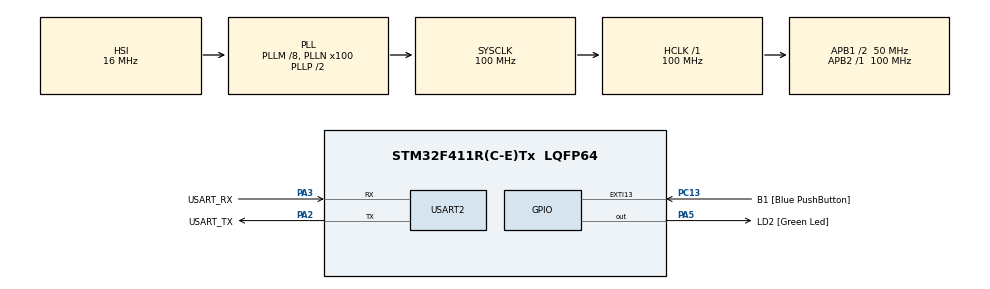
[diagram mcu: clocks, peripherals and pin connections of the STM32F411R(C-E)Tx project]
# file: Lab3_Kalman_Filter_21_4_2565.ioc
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Mcu.Family=STM32F4
Mcu.Name=STM32F411R(C-E)Tx
Mcu.Package=LQFP64
NVIC.PriorityGroup=NVIC_PRIORITYGROUP_0
NVIC.TIM1_TRG_COM_TIM11_IRQn=true\:0\:0\:false\:false\:true\:true\:true
PA13.GPIO_Label=TMS
PA13.Mode=Serial_Wire
PA13.Signal=SYS_JTMS-SWDIO
PA14.GPIO_Label=TCK
PA14.Mode=Serial_Wire
PA14.Signal=SYS_JTCK-SWCLK
PA2.GPIO_Label=USART_TX
PA2.Mode=Asynchronous
PA2.Signal=USART2_TX
PA3.GPIO_Label=USART_RX
PA3.Mode=Asynchronous
PA3.Signal=USART2_RX
PA5.GPIO_Label=LD2 [Green Led]
PA5.Signal=GPIO_Output
PB3.GPIO_Label=SWO
PB3.Signal=SYS_JTDO-SWO
PC13-ANTI_TAMP.GPIO_Label=B1 [Blue PushButton]
PC13-ANTI_TAMP.GPIO_ModeDefaultEXTI=GPIO_MODE_IT_FALLING
PC13-ANTI_TAMP.Signal=GPXTI13
PC14-OSC32_IN.Mode=LSE-External-Oscillator
PC14-OSC32_IN.Signal=RCC_OSC32_IN
PC15-OSC32_OUT.Mode=LSE-External-Oscillator
PC15-OSC32_OUT.Signal=RCC_OSC32_OUT
PH0\ -\ OSC_IN.Mode=HSE-External-Clock-Source
PH0\ -\ OSC_IN.Signal=RCC_OSC_IN
PH1\ -\ OSC_OUT.Mode=HSE-External-Clock-Source
PH1\ -\ OSC_OUT.Signal=RCC_OSC_OUT
ProjectManager.HeapSize=0x200
ProjectManager.StackSize=0x400
ProjectManager.TargetToolchain=STM32CubeIDE
RCC.48MHZClocksFreq_Value=50000000
RCC.AHBFreq_Value=100000000
RCC.APB1CLKDivider=RCC_HCLK_DIV2
RCC.APB1Freq_Value=50000000
RCC.APB1TimFreq_Value=100000000
RCC.APB2Freq_Value=100000000
RCC.APB2TimFreq_Value=100000000
RCC.CortexFreq_Value=100000000
RCC.FLatency-AdvancedSettings=FLASH_LATENCY_3
RCC.HCLKFreq_Value=100000000
RCC.HSE_VALUE=8000000
RCC.HSI_VALUE=16000000
RCC.PLLM=8
RCC.PLLN=100
RCC.SYSCLKFreq_VALUE=100000000
RCC.SYSCLKSource=RCC_SYSCLKSOURCE_PLLCLK
RCC.VCOOutputFreq_Value=200000000
TIM11.Prescaler=99
USART2.VirtualMode=VM_ASYNC
VP_TIM11_VS_ClockSourceINT.Mode=Enable_Timer
board=NUCLEO-F411RE

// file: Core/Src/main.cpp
/* USER CODE BEGIN Header */
/**
  ******************************************************************************
  * @file           : main.c
  * @brief          : Main program body
  ******************************************************************************
  * @attention
  *
  * Copyright (c) 2022 STMicroelectronics.
  * All rights reserved.
  *
  * This software is licensed under terms that can be found in the LICENSE file
  * in the root directory of this software component.
  * If no LICENSE file comes with this software, it is provided AS-IS.
  *
  ******************************************************************************
  */
/* USER CODE END Header */
#include "main.h"
#include "iostream"
#include "Eigen/Dense"

using namespace Eigen;
using namespace std;

UART_HandleTypeDef huart2;

TIM_HandleTypeDef htim11;
/* USER CODE BEGIN PV */

//Timer micro
uint64_t _micro = 0;

int column = 0;
int row = 0;
float element[9] = {0,0,0,0,0,0,0,0,0};
uint8_t numcount = 0;
MatrixXf Ans;

//Kalman Filter
unsigned long currentTime = 0;
unsigned long prevTime = 0;
float delT = 0.0f;

bool isFirstStep = true;

//All Matrix
MatrixXf Q(4, 4);
MatrixXf R_Baro(1, 1);
MatrixXf R_GPS(1, 1);
MatrixXf X(4, 1);
MatrixXf P(4, 4);
MatrixXf I(4, 4);
MatrixXf H_Baro(1, 4);
MatrixXf H_GPS(1, 4);
MatrixXf F(4,4);
MatrixXf Z_Baro(1,1);
MatrixXf K_Baro(4, 1);
MatrixXf Z_GPS(1,1);
MatrixXf K_GPS(4, 1);
MatrixXf B(2,1);
MatrixXf U(1,1);

/* USER CODE END PV */

void SystemClock_Config(void);
static void MX_GPIO_Init(void);
static void MX_USART2_UART_Init(void);
static void MX_TIM11_Init(void);
/* USER CODE BEGIN PFP */

// Micros count
uint64_t micros();

void ShowoutputMatrix(uint8_t rows, uint8_t columns);
void predict(float accel);
void updateBaro(float altitude);
void updateGPS(float gpsAltitude);

// Return value
float getKalmanPosition();
float getKalmanVelocity();
float getKalmanGravity();
float getKalmanBias();

/* USER CODE END PFP */

int main(void)
{
  /* USER CODE BEGIN 1 */

// Enter the matrix value.
	Q << 1,0,0,0
		,0,1,0,0
		,0,0,1,0
		,0,0,0,1;

	R_Baro << 10;

	R_GPS << 100;

	X << 5
		,0
		,-9.81
		,0;

	P << 10,0,0,0
		,0,1,0,0
		,0,0,1,0
		,0,0,0,100;

	I << 1,0,0,0
		,0,1,0,0
		,0,0,1,0
		,0,0,0,1;

	H_Baro << 1,0,0,1;

	H_GPS << 1,0,0,0;

  /* USER CODE END 1 */

  /* MCU Configuration--------------------------------------------------------*/

  /* Reset of all peripherals, Initializes the Flash interface and the Systick. */
  HAL_Init();

  /* Configure the system clock */
  SystemClock_Config();

  /* Initialize all configured peripherals */
  MX_GPIO_Init();
  MX_USART2_UART_Init();
  MX_TIM11_Init();
  /* USER CODE BEGIN 2 */

  //Timer For implement micros()
  	HAL_TIM_Base_Start_IT(&htim11);
  /* USER CODE END 2 */

  /* Infinite loop */
  while (1)
  {

  }
}

void SystemClock_Config(void)
{
  RCC_OscInitTypeDef RCC_OscInitStruct = {0};
  RCC_ClkInitTypeDef RCC_ClkInitStruct = {0};

  /** Configure the main internal regulator output voltage
  */
  __HAL_RCC_PWR_CLK_ENABLE();
  __HAL_PWR_VOLTAGESCALING_CONFIG(PWR_REGULATOR_VOLTAGE_SCALE1);
  /** Initializes the RCC Oscillators according to the specified parameters
  * in the RCC_OscInitTypeDef structure.
  */
  RCC_OscInitStruct.OscillatorType = RCC_OSCILLATORTYPE_HSI;
  RCC_OscInitStruct.HSIState = RCC_HSI_ON;
  RCC_OscInitStruct.HSICalibrationValue = RCC_HSICALIBRATION_DEFAULT;
  RCC_OscInitStruct.PLL.PLLState = RCC_PLL_ON;
  RCC_OscInitStruct.PLL.PLLSource = RCC_PLLSOURCE_HSI;
  RCC_OscInitStruct.PLL.PLLM = 8;
  RCC_OscInitStruct.PLL.PLLN = 100;
  RCC_OscInitStruct.PLL.PLLP = RCC_PLLP_DIV2;
  RCC_OscInitStruct.PLL.PLLQ = 4;
  if (HAL_RCC_OscConfig(&RCC_OscInitStruct) != HAL_OK)
  {
    Error_Handler();
  }
  /** Initializes the CPU, AHB and APB buses clocks
  */
  RCC_ClkInitStruct.ClockType = RCC_CLOCKTYPE_HCLK|RCC_CLOCKTYPE_SYSCLK
                              |RCC_CLOCKTYPE_PCLK1|RCC_CLOCKTYPE_PCLK2;
  RCC_ClkInitStruct.SYSCLKSource = RCC_SYSCLKSOURCE_PLLCLK;
  RCC_ClkInitStruct.AHBCLKDivider = RCC_SYSCLK_DIV1;
  RCC_ClkInitStruct.APB1CLKDivider = RCC_HCLK_DIV2;
  RCC_ClkInitStruct.APB2CLKDivider = RCC_HCLK_DIV1;

  if (HAL_RCC_ClockConfig(&RCC_ClkInitStruct, FLASH_LATENCY_3) != HAL_OK)
  {
    Error_Handler();
  }
}

static void MX_TIM11_Init(void)
{

  htim11.Instance = TIM11;
  htim11.Init.Prescaler = 99;
  htim11.Init.CounterMode = TIM_COUNTERMODE_UP;
  htim11.Init.Period = 65535;
  htim11.Init.ClockDivision = TIM_CLOCKDIVISION_DIV1;
  htim11.Init.AutoReloadPreload = TIM_AUTORELOAD_PRELOAD_DISABLE;
  if (HAL_TIM_Base_Init(&htim11) != HAL_OK)
  {
    Error_Handler();
  }

}

static void MX_USART2_UART_Init(void)
{

  huart2.Instance = USART2;
  huart2.Init.BaudRate = 115200;
  huart2.Init.WordLength = UART_WORDLENGTH_8B;
  huart2.Init.StopBits = UART_STOPBITS_1;
  huart2.Init.Parity = UART_PARITY_NONE;
  huart2.Init.Mode = UART_MODE_TX_RX;
  huart2.Init.HwFlowCtl = UART_HWCONTROL_NONE;
  huart2.Init.OverSampling = UART_OVERSAMPLING_16;
  if (HAL_UART_Init(&huart2) != HAL_OK)
  {
    Error_Handler();
  }

}

static void MX_GPIO_Init(void)
{
  GPIO_InitTypeDef GPIO_InitStruct = {0};

  /* GPIO Ports Clock Enable */
  __HAL_RCC_GPIOC_CLK_ENABLE();
  __HAL_RCC_GPIOH_CLK_ENABLE();
  __HAL_RCC_GPIOA_CLK_ENABLE();
  __HAL_RCC_GPIOB_CLK_ENABLE();

  /*Configure GPIO pin Output Level */
  HAL_GPIO_WritePin(LD2_GPIO_Port, LD2_Pin, GPIO_PIN_RESET);

  /*Configure GPIO pin : B1_Pin */
  GPIO_InitStruct.Pin = B1_Pin;
  GPIO_InitStruct.Mode = GPIO_MODE_IT_FALLING;
  GPIO_InitStruct.Pull = GPIO_NOPULL;
  HAL_GPIO_Init(B1_GPIO_Port, &GPIO_InitStruct);

  /*Configure GPIO pin : LD2_Pin */
  GPIO_InitStruct.Pin = LD2_Pin;
  GPIO_InitStruct.Mode = GPIO_MODE_OUTPUT_PP;
  GPIO_InitStruct.Pull = GPIO_NOPULL;
  GPIO_InitStruct.Speed = GPIO_SPEED_FREQ_LOW;
  HAL_GPIO_Init(LD2_GPIO_Port, &GPIO_InitStruct);

}

/* USER CODE BEGIN 4 */

// Timer Micro
void HAL_TIM_PeriodElapsedCallback(TIM_HandleTypeDef *htim) {
	if (htim == &htim11) {
		_micro += 65535;
	}
}

uint64_t micros() {
	return _micro + htim11.Instance->CNT;
}

// Kalman Filter function

void predict(float accel)
{
  currentTime = micros();
  delT = (currentTime - prevTime) / 1000000.0f;
//  data.loopTime = delT;
  prevTime = currentTime;

  if (!isFirstStep)
  {
    F <<
        1, delT,-(delT*delT)/2.0, 0,
        0, 1, -delT, 0,
        0, 0, 1, 0,
        0, 0, 0, 1;

    B << delT * delT / 2.0,
        delT,
        0,
        0;

    U << accel;

    X = (F * X) + (B * U);
    P = (F * P * F.transpose()) + Q;
  }
  isFirstStep = false;
}

void updateBaro(float altitude)
{
  Z_Baro << altitude;
  K_Baro << P * (H_Baro.transpose()) * (H_Baro * P * (H_Baro.transpose()) + R_Baro).inverse();

  X = X + K_Baro * (Z_Baro - H_Baro * X);
  P = (I - K_Baro * H_Baro) * P * ((I - K_Baro * H_Baro).transpose()) + K_Baro * R_Baro * (K_Baro.transpose());
}

void updateGPS(float gpsAltitude)
{
  Z_GPS << gpsAltitude;
  K_GPS = P * (H_GPS.transpose()) * (H_GPS * P * (H_GPS.transpose()) + R_GPS).inverse();

  X = X + K_GPS * (Z_GPS - H_GPS * X);
  P = (I - K_GPS * H_GPS) * P * ((I - K_GPS * H_GPS).transpose()) + K_GPS * R_GPS * (K_GPS.transpose());
}

float getKalmanPosition() {
  return X(0,0);
}

float getKalmanVelocity() {
  return X(1,0);
}

float getKalmanGravity() {
  return X(2,0);
}

float getKalmanBias() {
  return X(3,0);
}

// Display Matrix
void ShowoutputMatrix(uint8_t rows, uint8_t columns){
	for(int i=0;i<rows;i++){
		for(int j=0;j<columns;j++){
			element[numcount] = Ans(i,j);
			numcount++;
		}
	}
}

/* USER CODE END 4 */

void Error_Handler(void)
{
  __disable_irq();
  while (1)
  {
  }
}
